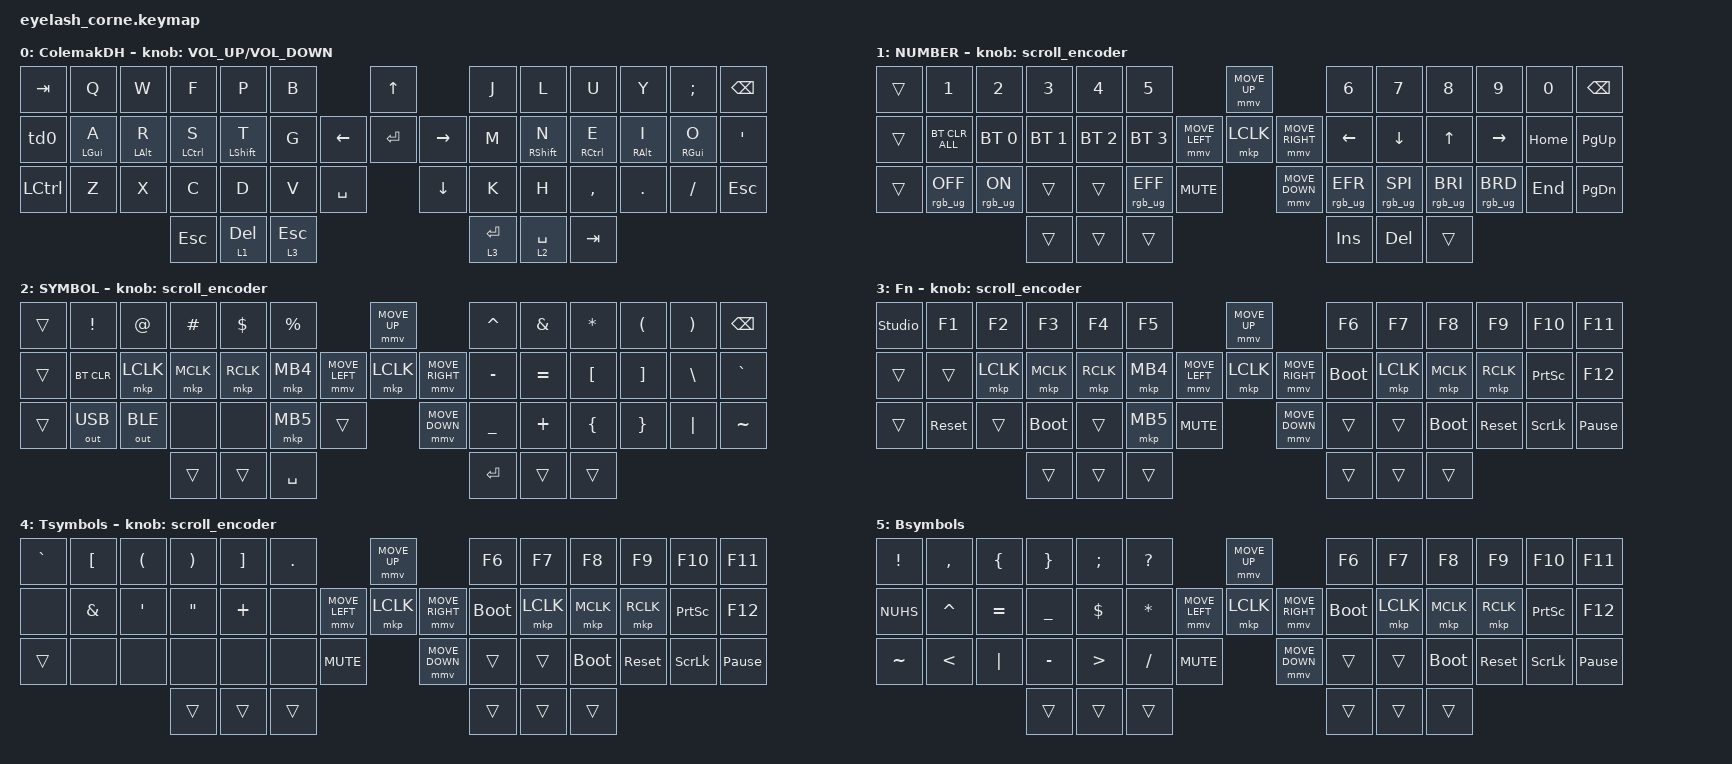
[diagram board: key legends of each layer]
#define ZMK_POINTING_DEFAULT_MOVE_VAL 1200  // 600
#define ZMK_POINTING_DEFAULT_SCRL_VAL 25   // 10

#include <input/processors.dtsi>
#include <zephyr/dt-bindings/input/input-event-codes.h>
#include <behaviors.dtsi>
#include <dt-bindings/zmk/bt.h>
#include <dt-bindings/zmk/keys.h>
#include <dt-bindings/zmk/outputs.h>
#include <dt-bindings/zmk/pointing.h>
#include <dt-bindings/zmk/rgb.h>

&mmv_input_listener { input-processors = <&zip_xy_scaler 2 1>; };

&msc_input_listener { input-processors = <&zip_scroll_scaler 2 1>; };

&msc {
    acceleration-exponent = <1>;      // 0
    time-to-max-speed-ms = <100>;       // 300
    delay-ms = <0>;                   // 0
};

&mmv {
    time-to-max-speed-ms = <500>;
    acceleration-exponent = <1>;
    trigger-period-ms = <16>;
};

&soft_off { hold-time-ms = <2000>; };

/ {
    behaviors {
        hm: home_row_mods {
            compatible = "zmk,behavior-hold-tap";
            #binding-cells = <2>;
            tapping-term-ms = <200>;
            quick-tap-ms = <125>;
            flavor = "balanced";
            bindings = <&kp>, <&kp>;
        };
        td0: td0 {
            compatible = "zmk,behavior-tap-dance";
            display-name = "Shift/Caps Lock Tap Dance";
            #binding-cells = <0>;
            bindings = <&kp LEFT_SHIFT>, <&kp CAPS>;
        };
    };

    rgb_encoder: rgb_encoder {
        compatible = "zmk,behavior-sensor-rotate";
        #sensor-binding-cells = <0>;
        bindings = <&rgb_ug RGB_BRI>, <&rgb_ug RGB_BRD>;
    };

    scroll_encoder: scroll_encoder {
        compatible = "zmk,behavior-sensor-rotate";
        #sensor-binding-cells = <0>;
        bindings = <&msc SCRL_DOWN>, <&msc SCRL_UP>;

        tap-ms = <100>;
    };

    combos {
        compatible = "zmk,combos";

        softoff {
            bindings = <&soft_off>;
            key-positions = <1 15 29>;
        };
    };

    keymap {
        compatible = "zmk,keymap";

        default_layer {
            display-name = "ColemakDH";
            bindings = <
&kp TAB    &kp Q  &kp W  &kp F     &kp P  &kp B                               &kp UP                &kp J        &kp L  &kp U      &kp Y    &kp SEMI     &kp BSPC
&td0       &hm LGUI A  &hm LALT R  &hm LCTRL S     &hm LSHIFT T  &kp G                     &kp LEFT  &kp ENTER  &kp RIGHT  &kp M        &hm RSHIFT N  &hm RCTRL E      &hm RALT I    &hm RGUI O  &kp SQT
&kp LCTRL  &kp Z  &kp X  &kp C     &kp D  &kp V        &kp SPACE              &kp DOWN              &kp K        &kp H  &kp COMMA  &kp DOT  &kp FSLH  &kp ESC
                         &kp ESC  &lt 1 DEL  &lt 3 ESC                                                &lt 3 ENTER  &lt 2 SPACE  &kp TAB
            >;

             sensor-bindings = <&inc_dec_kp C_VOLUME_UP C_VOLUME_DOWN>;
        };

        lower_layer {
            display-name = "NUMBER";
            bindings = <
&trans  &kp N1           &kp N2          &kp N3        &kp N4        &kp N5                                         &mmv MOVE_UP                     &kp N6           &kp N7           &kp N8           &kp N9           &kp N0    &kp BSPC
&trans  &bt BT_CLR_ALL   &bt BT_SEL 0    &bt BT_SEL 1  &bt BT_SEL 2  &bt BT_SEL 3                   &mmv MOVE_LEFT  &mkp LCLK       &mmv MOVE_RIGHT  &kp LEFT         &kp DOWN         &kp UP           &kp RIGHT        &kp HOME  &kp PG_UP
&trans  &rgb_ug RGB_OFF  &rgb_ug RGB_ON  &trans        &trans        &rgb_ug RGB_EFF  &kp C_MUTE                    &mmv MOVE_DOWN                   &rgb_ug RGB_EFR  &rgb_ug RGB_SPI  &rgb_ug RGB_BRI  &rgb_ug RGB_BRD  &kp END   &kp PG_DN
                                         &trans        &trans        &trans                                                                          &kp INS          &kp DEL          &trans
            >;

            sensor-bindings = <&scroll_encoder>;
        };

        raise_layer {
            display-name = "SYMBOL";
            bindings = <
&trans  &kp EXCL      &kp AT        &kp HASH   &kp DLLR   &kp PRCNT                            &mmv MOVE_UP                     &kp CARET  &kp AMPS   &kp ASTRK  &kp LPAR  &kp RPAR  &kp BSPC
&trans  &bt BT_CLR    &mkp LCLK     &mkp MCLK  &mkp RCLK  &mkp MB4             &mmv MOVE_LEFT  &mkp LCLK       &mmv MOVE_RIGHT  &kp MINUS  &kp EQUAL  &kp LBKT   &kp RBKT  &kp BSLH  &kp GRAVE
&trans  &out OUT_USB  &out OUT_BLE  &none      &none      &mkp MB5   &trans                    &mmv MOVE_DOWN                   &kp UNDER  &kp PLUS   &kp LBRC   &kp RBRC  &kp PIPE  &kp TILDE
                                    &trans     &trans     &kp SPACE                                                             &kp RET    &trans     &trans
            >;

            sensor-bindings = <&scroll_encoder>;
        };

        layer_3 {
            display-name = "Fn";
            bindings = <
&studio_unlock  &kp F1      &kp F2     &kp F3       &kp F4     &kp F5                                  &mmv MOVE_UP                     &kp F6       &kp F7     &kp F8       &kp F9      &kp F10          &kp F11
&trans          &trans      &mkp LCLK  &mkp MCLK    &mkp RCLK  &mkp MB4                &mmv MOVE_LEFT  &mkp LCLK       &mmv MOVE_RIGHT  &bootloader  &mkp LCLK  &mkp MCLK    &mkp RCLK   &kp PRINTSCREEN  &kp F12
&trans          &sys_reset  &trans     &bootloader  &trans     &mkp MB5  &kp C_MUTE                    &mmv MOVE_DOWN                   &trans       &trans     &bootloader  &sys_reset  &kp SCROLLLOCK   &kp PAUSE_BREAK
                                       &trans       &trans     &trans                                                                   &trans       &trans     &trans
            >;

            sensor-bindings = <&scroll_encoder>;
        };
        layer_4 {
            display-name = "Tsymbols";
            bindings = <
&kp GRAVE      &kp LBKT       &kp LPAR     &kp RPAR  &kp RBKT     &kp DOT                                  &mmv MOVE_UP                     &kp F6       &kp F7     &kp F8       &kp F9      &kp F10          &kp F11
&none          &kp AMPS       &kp APOS     &kp DQT   &kp PLUS     &none             &mmv MOVE_LEFT  &mkp LCLK       &mmv MOVE_RIGHT  &bootloader  &mkp LCLK  &mkp MCLK    &mkp RCLK   &kp PRINTSCREEN  &kp F12
&trans         &none          &none        &none     &none        &none    &kp C_MUTE                    &mmv MOVE_DOWN                   &trans       &trans     &bootloader  &sys_reset  &kp SCROLLLOCK   &kp PAUSE_BREAK
                                       &trans       &trans     &trans                                                                   &trans       &trans     &trans
            >;

            sensor-bindings = <&scroll_encoder>;
        };

    layer_5 {
            display-name = "Bsymbols";

                           bindings = <
&kp EXCL       &kp COMMA     &kp LBRC     &kp RBRC      &kp SEMI     &kp QMARK                                 &mmv MOVE_UP                     &kp F6       &kp F7     &kp F8       &kp F9      &kp F10          &kp F11
&kp NUHS       &kp CARET     &kp EQUAL    &kp UNDER     &kp DLLR     &kp ASTRK             &mmv MOVE_LEFT  &mkp LCLK       &mmv MOVE_RIGHT  &bootloader  &mkp LCLK  &mkp MCLK    &mkp RCLK   &kp PRINTSCREEN  &kp F12
&kp  TILDE     &kp LT        &kp PIPE     &kp MINUS     &kp GT       &kp FSLH    &kp C_MUTE                     &mmv MOVE_DOWN                   &trans       &trans     &bootloader  &sys_reset  &kp SCROLLLOCK   &kp PAUSE_BREAK
                                       &trans       &trans     &trans                                                                   &trans       &trans     &trans
            >;

        };

    layer_6 {
            status = "reserved";
        };
    };
};
